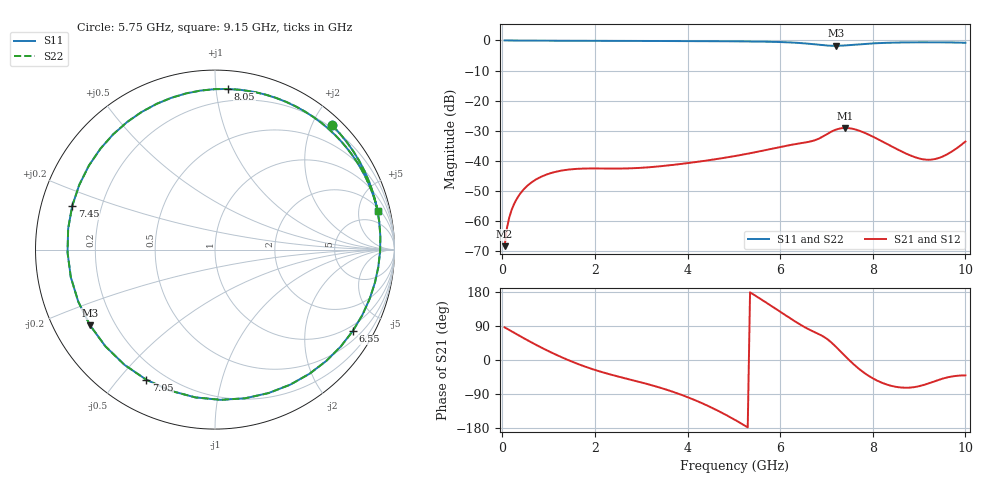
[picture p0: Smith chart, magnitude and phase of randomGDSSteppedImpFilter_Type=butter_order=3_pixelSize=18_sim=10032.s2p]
! freq	dB(S11)	phase(S11)	dB(S12)	phase(S12)
!  dB(S21)	phase(S21)	dB(S22)	phase(S22)
!S-par simulation data
#  GHz  S  DB  R 50
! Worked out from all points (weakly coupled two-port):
!   200 points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, 50 MHz to 10 GHz, reference 50 ohm
!   highest |S21| = -29.06 dB at 7.4 GHz (marker M1); lowest = -68.3 dB at 50 MHz (marker M2)
!   lowest |S11| = -1.8 dB at 7.2 GHz (marker M3), VSWR 9.76, Z = 5.52 - j13.8 ohm
!   |S11| at or under -10 dB: nowhere
!   |S22| runs from -1.8 to 0.0 dB; largest |S21 - S12| = 0
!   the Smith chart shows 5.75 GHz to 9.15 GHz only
!   S11 on the Smith chart (normalised r, x): 5.75 GHz: 0.16, +2.31; 6.55 GHz: 0.79, -3.48; 7.05 GHz: 0.13, -0.60; 7.45 GHz: 0.09, +0.15; 8.05 GHz: 0.12, +1.08; 9.15 GHz: 2.39, +7.85
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0.05  -0.00 -3.6  -68.30 86.2  -68.30 86.2  -0.00 -3.6
0.2  -0.02 -14.2  -56.35 75.8  -56.35 75.8  -0.02 -14.2
0.5  -0.05 -35.0  -48.85 55.1  -48.85 55.1  -0.05 -35.0
1.1  -0.09 -74.3  -43.81 17.4  -43.81 17.4  -0.09 -74.3
1.75  -0.12 -112.1  -42.54 -15.8  -42.54 -15.8  -0.12 -112.1
2.55  -0.15 -152.7  -42.53 -45.2  -42.53 -45.2  -0.15 -152.7
3.4  -0.18 168.2  -41.79 -72.8  -41.79 -72.8  -0.18 168.2
4.2  -0.22 131.8  -40.33 -108.0  -40.33 -108.0  -0.22 131.8
5.05  -0.30 89.6  -38.31 -159.8  -38.31 -159.8  -0.29 89.6
5.75  -0.43 46.7  -36.19 147.5  -36.19 147.5  -0.43 46.8
6.2  -0.65 9.6  -34.77 111.4  -34.77 111.4  -0.65 9.6
6.55  -1.00 -30.7  -33.85 85.3  -33.85 85.3  -1.00 -30.6
6.7  -1.22 -52.8  -33.36 76.1  -33.36 76.1  -1.22 -52.8
7.05  -1.73 -117.8  -30.75 52.0  -30.75 52.0  -1.73 -117.9
7.2  -1.79 -148.9  -29.64 35.5  -29.64 35.5  -1.79 -149.0
7.4  -1.66 172.0  -29.06 10.8  -29.06 10.8  -1.65 171.8
7.45  -1.60 163.1  -29.08 4.6  -29.08 4.6  -1.60 162.8
7.75  -1.22 118.1  -30.20 -28.0  -30.20 -28.0  -1.22 117.9
8.05  -0.94 85.4  -32.30 -51.7  -32.30 -51.7  -0.93 85.2
8.35  -0.76 60.5  -34.71 -66.5  -34.71 -66.5  -0.76 60.3
9.15  -0.61 13.3  -39.58 -64.0  -39.58 -64.0  -0.61 13.2
10  -0.78 -24.2  -33.57 -40.6  -33.57 -40.6  -0.78 -24.3
